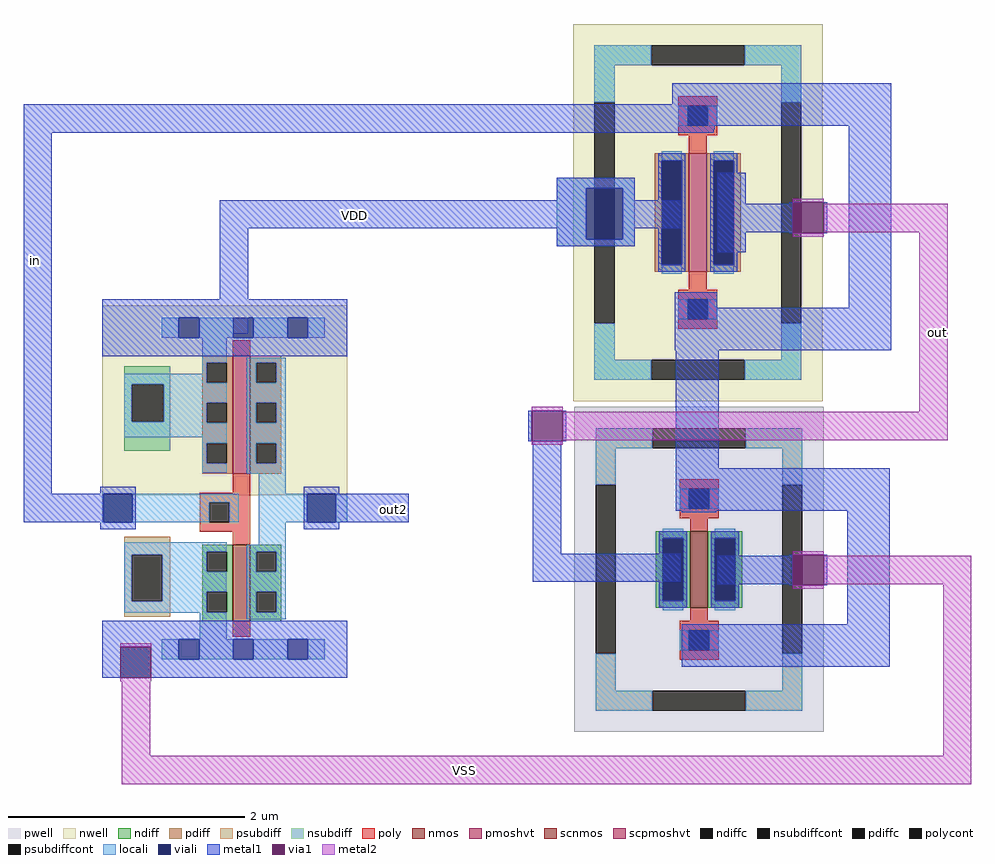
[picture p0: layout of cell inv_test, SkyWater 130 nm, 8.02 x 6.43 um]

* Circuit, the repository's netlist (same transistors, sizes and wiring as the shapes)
.subckt inv_test VDD in VSS out out2
*.ipin VDD
*.ipin in
*.ipin VSS
*.opin out
*.opin out2
XM2 out in VSS VSS sky130_fd_pr__nfet_01v8 L=0.15 W=0.65 nf=1 ad='int((nf+1)/2) * W/nf * 0.29' as='int((nf+2)/2) * W/nf * 0.29'
+ pd='2*int((nf+1)/2) * (W/nf + 0.29)' ps='2*int((nf+2)/2) * (W/nf + 0.29)' nrd='0.29 / W' nrs='0.29 / W'
+ sa=0 sb=0 sd=0 mult=1 m=1 
XM1 out in VDD VDD sky130_fd_pr__pfet_01v8_hvt L=0.15 W=1 nf=1 ad='int((nf+1)/2) * W/nf * 0.29' as='int((nf+2)/2) * W/nf * 0.29'
+ pd='2*int((nf+1)/2) * (W/nf + 0.29)' ps='2*int((nf+2)/2) * (W/nf + 0.29)' nrd='0.29 / W' nrs='0.29 / W'
+ sa=0 sb=0 sd=0 mult=1 m=1 
x1 in VSS VSS VDD VDD out2 sky130_fd_sc_hd__inv_1
**** begin user architecture code
.ends

.subckt sky130_fd_sc_hd__inv_1 A VGND VNB VPB VPWR Y
X0 VGND A Y VNB sky130_fd_pr__nfet_01v8 w=650000u l=150000u
X1 VPWR A Y VPB sky130_fd_pr__pfet_01v8_hvt w=1e+06u l=150000u
.ends

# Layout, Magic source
magic
tech sky130A
magscale 1 2
<< locali >>
rect 668 780 800 798
rect 668 694 718 780
rect 780 694 800 780
rect 668 682 800 694
<< viali >>
rect 718 694 780 780
rect -98 215 -50 263
rect 246 215 294 263
<< metal1 >>
rect 864 922 1234 958
rect -234 886 1234 922
rect -234 874 934 886
rect -234 263 -186 874
rect 668 780 800 798
rect 668 760 718 780
rect 98 712 718 760
rect 98 534 146 712
rect 668 694 718 712
rect 780 760 800 780
rect 780 712 878 760
rect 940 754 988 806
rect 1062 754 1068 756
rect 780 694 800 712
rect 668 682 800 694
rect 940 706 1068 754
rect 940 672 988 706
rect 1062 704 1068 706
rect 1120 704 1126 756
rect 868 578 940 604
rect 1162 578 1234 886
rect 868 506 1234 578
rect 620 352 626 404
rect 678 352 684 404
rect -104 263 -44 275
rect -234 215 -98 263
rect -50 215 -44 263
rect -104 203 -44 215
rect 240 263 300 275
rect 240 215 246 263
rect 294 215 418 263
rect 240 203 300 215
rect 628 162 676 352
rect 870 306 942 506
rect 870 234 1232 306
rect 628 114 878 162
rect 1062 158 1068 160
rect 940 110 1068 158
rect 1062 108 1068 110
rect 1120 108 1126 160
rect 1160 42 1232 234
rect -76 -48 -70 4
rect -18 -48 -12 4
rect 880 -30 1232 42
<< via1 >>
rect 1068 704 1120 756
rect 626 352 678 404
rect 1068 108 1120 160
rect -70 -48 -18 4
<< metal2 >>
rect 1068 756 1120 762
rect 1120 706 1330 754
rect 1068 698 1120 704
rect 626 404 678 410
rect 1282 402 1330 706
rect 678 354 1330 402
rect 626 346 678 352
rect 1068 160 1120 166
rect 1120 110 1370 158
rect 1068 102 1120 108
rect -70 4 -18 10
rect -70 -54 -18 -48
rect -68 -180 -20 -54
rect 1322 -180 1370 110
rect -68 -228 1370 -180
use sky130_fd_pr__pfet_01v8_hvt_UU5H43  sky130_fd_pr__pfet_01v8_hvt_UU5H43_0
transform 1 0 907 0 1 739
box -211 -319 211 319
use sky130_fd_pr__nfet_01v8_82JX4H  sky130_fd_pr__nfet_01v8_82JX4H_0
transform 1 0 909 0 1 135
box -211 -275 211 275
use inv1  inv1_0
transform 1 0 0 0 1 0
box -101 -48 314 592
<< labels >>
flabel metal1 -214 658 -214 658 1 FreeSans 480 0 0 0 in
port 1 n
flabel metal2 1312 536 1312 536 1 FreeSans 480 0 0 0 out
port 3 n
flabel metal1 326 734 326 734 1 FreeSans 480 0 0 0 VDD
port 4 n
flabel metal2 512 -206 512 -206 1 FreeSans 480 0 0 0 VSS
port 5 n
flabel metal1 392 236 392 236 1 FreeSans 480 0 0 0 out2
port 6 n
<< end >>

# cell sky130_fd_pr__pfet_01v8_hvt_UU5H43: kit device sky130_fd_pr__pfet_01v8_hvt, w 1 l 0.15 m 1 nf 1 diffcov 100 polycov 60 guard 1 glc 1 grc 1 gtc 1 gbc 1 tbcov 100 rlcov 100 topc 1 botc 1 poverlap 0 doverlap 1 lmin 0.15 wmin 0.42 compatible {sky130_fd_pr__pfet_01v8 sky130_fd_pr__pfet_01v8_lvt sky130_fd_pr__pfet_01v8_hvt sky130_fd_pr__pfet_g5v0d10v5} full_metal 1 viasrc 100 viadrn 100 viagate 50 viagb 0 viagr 0 viagl 0 viagt 0

# cell sky130_fd_pr__nfet_01v8_82JX4H: kit device sky130_fd_pr__nfet_01v8, w 0.65 l 0.150 m 1 nf 1 diffcov 100 polycov 60 guard 1 glc 1 grc 1 gtc 1 gbc 1 tbcov 100 rlcov 100 topc 1 botc 1 poverlap 0 doverlap 1 lmin 0.15 wmin 0.42 compatible {sky130_fd_pr__nfet_01v8 sky130_fd_pr__nfet_01v8_lvt sky130_fd_bs_flash__special_sonosfet_star sky130_fd_pr__nfet_g5v0d10v5 sky130_fd_pr__nfet_05v0_nvt sky130_fd_pr__nfet_03v3_nvt} full_metal 1 viasrc 100 viadrn 100 viagate 50 viagb 0 viagr 0 viagl 0 viagt 0

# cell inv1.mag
magic
tech sky130A
magscale 1 2
<< nwell >>
rect -101 261 314 582
<< pwell >>
rect 29 -17 63 17
<< scnmos >>
rect 120 47 150 177
<< scpmoshvt >>
rect 120 297 150 497
<< ndiff >>
rect 68 165 120 177
rect 68 131 76 165
rect 110 131 120 165
rect 68 97 120 131
rect 68 63 76 97
rect 110 63 120 97
rect 68 47 120 63
rect 150 165 202 177
rect 150 131 160 165
rect 194 131 202 165
rect 150 97 202 131
rect 150 63 160 97
rect 194 63 202 97
rect 150 47 202 63
<< pdiff >>
rect 68 485 120 497
rect 68 451 76 485
rect 110 451 120 485
rect 68 417 120 451
rect 68 383 76 417
rect 110 383 120 417
rect 68 349 120 383
rect 68 315 76 349
rect 110 315 120 349
rect 68 297 120 315
rect 150 485 202 497
rect 150 451 160 485
rect 194 451 202 485
rect 150 417 202 451
rect 150 383 160 417
rect 194 383 202 417
rect 150 349 202 383
rect 150 315 160 349
rect 194 315 202 349
rect 150 297 202 315
<< ndiffc >>
rect 76 131 110 165
rect 76 63 110 97
rect 160 131 194 165
rect 160 63 194 97
<< pdiffc >>
rect 76 451 110 485
rect 76 383 110 417
rect 76 315 110 349
rect 160 451 194 485
rect 160 383 194 417
rect 160 315 194 349
<< psubdiff >>
rect -64 160 14 190
rect -64 81 -51 160
rect 1 81 14 160
rect -64 55 14 81
<< nsubdiff >>
rect -64 448 14 479
rect -64 385 -51 448
rect 3 385 14 448
rect -64 336 14 385
<< psubdiffcont >>
rect -51 81 1 160
<< nsubdiffcont >>
rect -51 385 3 448
<< poly >>
rect 120 497 150 523
rect 120 265 150 297
rect 64 249 150 265
rect 64 215 80 249
rect 114 215 150 249
rect 64 199 150 215
rect 120 177 150 199
rect 120 21 150 47
<< polycont >>
rect 80 215 114 249
<< locali >>
rect 0 527 29 561
rect 63 527 121 561
rect 155 527 213 561
rect 247 527 276 561
rect 68 485 110 527
rect 68 466 76 485
rect -64 451 76 466
rect -64 448 110 451
rect -64 385 -51 448
rect 3 417 110 448
rect 3 385 76 417
rect -64 383 76 385
rect -64 359 110 383
rect 68 349 110 359
rect 68 315 76 349
rect 68 299 110 315
rect 144 485 210 493
rect 144 451 160 485
rect 194 451 210 485
rect 144 417 210 451
rect 144 383 160 417
rect 194 383 210 417
rect 144 349 210 383
rect 144 315 160 349
rect 194 315 210 349
rect 144 297 210 315
rect 164 263 210 297
rect -101 249 130 263
rect -101 215 80 249
rect 114 215 130 249
rect 164 215 314 263
rect -64 165 110 181
rect 164 177 210 215
rect -64 160 76 165
rect -64 81 -51 160
rect 1 131 76 160
rect 1 97 110 131
rect 1 81 76 97
rect -64 63 76 81
rect -64 62 110 63
rect 64 17 110 62
rect 144 165 210 177
rect 144 131 160 165
rect 194 131 210 165
rect 144 97 210 131
rect 144 63 160 97
rect 194 63 210 97
rect 144 51 210 63
rect 0 -17 29 17
rect 63 -17 121 17
rect 155 -17 213 17
rect 247 -17 276 17
<< viali >>
rect 29 527 63 561
rect 121 527 155 561
rect 213 527 247 561
rect 29 -17 63 17
rect 121 -17 155 17
rect 213 -17 247 17
<< metal1 >>
rect -101 561 314 592
rect -101 527 29 561
rect 63 527 121 561
rect 155 527 213 561
rect 247 527 314 561
rect -101 496 314 527
rect -101 17 314 48
rect -101 -17 29 17
rect 63 -17 121 17
rect 155 -17 213 17
rect 247 -17 314 17
rect -101 -48 314 -17
<< labels >>
flabel locali s 72 221 106 255 0 FreeSans 340 0 0 0 A
port 1 nsew
flabel locali s 164 289 198 323 0 FreeSans 340 0 0 0 Y
port 2 nsew
flabel metal1 s 29 527 63 561 0 FreeSans 200 0 0 0 VPWR
port 3 nsew
flabel metal1 s 29 -17 63 17 0 FreeSans 200 0 0 0 VGND
port 4 nsew
rlabel comment s 0 0 0 0 4 inv_1
<< properties >>
string FIXED_BBOX 0 0 276 544
string path 0.000 0.000 1.380 0.000 
<< end >>
